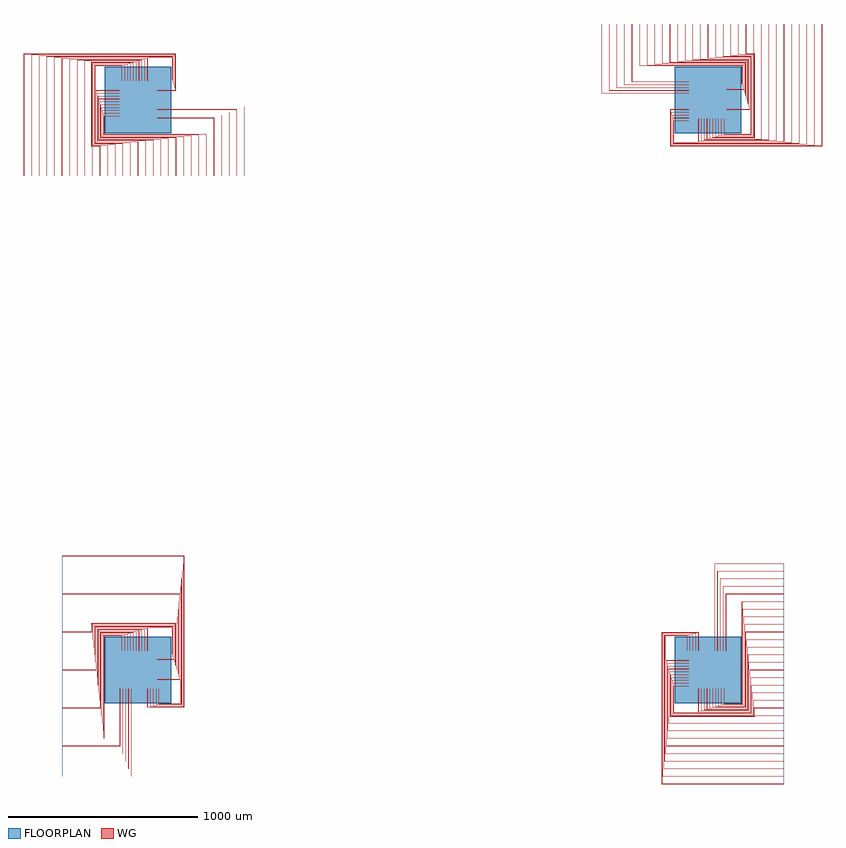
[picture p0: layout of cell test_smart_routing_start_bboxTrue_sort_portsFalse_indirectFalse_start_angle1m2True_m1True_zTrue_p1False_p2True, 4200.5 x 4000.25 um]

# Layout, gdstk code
import gdstk
lib = gdstk.Library(unit=1e-6, precision=1e-09)
def R(c, l, rs):  # rectangles x0, y0, x1, y1
    for r in rs: c.add(gdstk.rectangle(r[:2], r[2:], *l))
def P(c, l, *ps):  # polygons
    for p in ps: c.add(gdstk.Polygon(p, *l))
WG = (1, 0)
FLOORPLAN = (10, 0)

test_smart_routing_start = lib.new_cell('test_smart_routing_start_bboxTrue_sort_portsFalse_indirectFalse_start_angle1m2True_m1True_zTrue_p1False_p2True')
P(test_smart_routing_start, WG, [(2802.5,2757.5),(2802.5,2950.25),(2900,2950.25),(2900,2949.75),(2803,2949.75),(2803,2758),(3599.75,2758),(3599.75,3400),(3600.25,3400),(3600.25,2757.5)],
  [(2807,2762),(2807,2935.25),(2900,2935.25),(2900,2934.75),(2807.5,2934.75),(2807.5,2762.5),(3559.75,2762.5),(3559.75,3400),(3560.25,3400),(3560.25,2762)],
  [(2811.5,2766.5),(2811.5,2920.25),(2900,2920.25),(2900,2919.75),(2812,2919.75),(2812,2767),(3519.75,2767),(3519.75,3400),(3520.25,3400),(3520.25,2766.5)],
  [(2816,2771),(2816,2905.25),(2900,2905.25),(2900,2904.75),(2816.5,2904.75),(2816.5,2771.5),(3479.75,2771.5),(3479.75,3400),(3480.25,3400),(3480.25,2771)],
  [(2820.5,2775.5),(2820.5,2890.25),(2900,2890.25),(2900,2889.75),(2821,2889.75),(2821,2776),(3439.75,2776),(3439.75,3400),(3440.25,3400),(3440.25,2775.5)],
  [(2949.75,2780),(2949.75,2900),(2950.25,2900),(2950.25,2780.5),(3399.75,2780.5),(3399.75,3400),(3400.25,3400),(3400.25,2780)],
  [(2964.75,2784.5),(2964.75,2900),(2965.25,2900),(2965.25,2785),(3359.75,2785),(3359.75,3400),(3360.25,3400),(3360.25,2784.5)],
  [(2979.75,2789),(2979.75,2900),(2980.25,2900),(2980.25,2789.5),(3319.75,2789.5),(3319.75,3400),(3320.25,3400),(3320.25,2789)],
  [(2994.75,2793.5),(2994.75,2900),(2995.25,2900),(2995.25,2794),(3279.75,2794),(3279.75,3400),(3280.25,3400),(3280.25,2793.5)],
  [(3009.75,2798),(3009.75,2900),(3010.25,2900),(3010.25,2798.5),(3246.5,2798.5),(3246.5,3246.5),(3239.75,3246.5),(3239.75,3400),(3240.25,3400),(3240.25,3247),(3247,3247),(3247,2798)],
  [(3024.75,2802.5),(3024.75,2900),(3025.25,2900),(3025.25,2803),(3242,2803),(3242,3242),(3199.75,3242),(3199.75,3400),(3200.25,3400),(3200.25,3242.5),(3242.5,3242.5),(3242.5,2802.5)],
  [(3039.75,2807),(3039.75,2900),(3040.25,2900),(3040.25,2807.5),(3237.5,2807.5),(3237.5,3237.5),(3159.75,3237.5),(3159.75,3400),(3160.25,3400),(3160.25,3238),(3238,3238),(3238,2807)],
  [(3054.75,2811.5),(3054.75,2900),(3055.25,2900),(3055.25,2812),(3233,2812),(3233,3233),(3119.75,3233),(3119.75,3400),(3120.25,3400),(3120.25,3233.5),(3233.5,3233.5),(3233.5,2811.5)],
  [(3069.75,2816),(3069.75,2900),(3070.25,2900),(3070.25,2816.5),(3228.5,2816.5),(3228.5,3228.5),(3079.75,3228.5),(3079.75,3400),(3080.25,3400),(3080.25,3229),(3229,3229),(3229,2816)],
  [(3084.75,2820.5),(3084.75,2900),(3085.25,2900),(3085.25,2821),(3224,2821),(3224,3224),(3039.75,3224),(3039.75,3400),(3040.25,3400),(3040.25,3224.5),(3224.5,3224.5),(3224.5,2820.5)],
  [(3100,2949.75),(3100,2950.25),(3219.5,2950.25),(3219.5,3219.5),(2999.75,3219.5),(2999.75,3400),(3000.25,3400),(3000.25,3220),(3220,3220),(3220,2949.75)],
  [(3100,2964.75),(3100,2965.25),(3215,2965.25),(3215,3215),(2959.75,3215),(2959.75,3400),(2960.25,3400),(2960.25,3215.5),(3215.5,3215.5),(3215.5,2964.75)],
  [(3100,2979.75),(3100,2980.25),(3210.5,2980.25),(3210.5,3210.5),(2919.75,3210.5),(2919.75,3400),(2920.25,3400),(2920.25,3211),(3211,3211),(3211,2979.75)],
  [(3100,2994.75),(3100,2995.25),(3206,2995.25),(3206,3206),(2879.75,3206),(2879.75,3400),(2880.25,3400),(2880.25,3206.5),(3206.5,3206.5),(3206.5,2994.75)],
  [(3100,3009.75),(3100,3010.25),(3201.5,3010.25),(3201.5,3201.5),(2839.75,3201.5),(2839.75,3400),(2840.25,3400),(2840.25,3202),(3202,3202),(3202,3009.75)],
  [(3100,3024.75),(3100,3025.25),(3197,3025.25),(3197,3197),(2799.75,3197),(2799.75,3400),(2800.25,3400),(2800.25,3197.5),(3197.5,3197.5),(3197.5,3024.75)],
  [(3100,3039.75),(3100,3040.25),(3192.5,3040.25),(3192.5,3192.5),(2759.75,3192.5),(2759.75,3400),(2760.25,3400),(2760.25,3193),(3193,3193),(3193,3039.75)],
  [(3100,3054.75),(3100,3055.25),(3188,3055.25),(3188,3188),(2719.75,3188),(2719.75,3400),(2720.25,3400),(2720.25,3188.5),(3188.5,3188.5),(3188.5,3054.75)],
  [(3100,3069.75),(3100,3070.25),(3183.5,3070.25),(3183.5,3183.5),(2679.75,3183.5),(2679.75,3400),(2680.25,3400),(2680.25,3184),(3184,3184),(3184,3069.75)],
  [(3100,3084.75),(3100,3085.25),(3179,3085.25),(3179,3179),(2639.75,3179),(2639.75,3400),(2640.25,3400),(2640.25,3179.5),(3179.5,3179.5),(3179.5,3084.75)],
  [(2439.75,3034.75),(2439.75,3400),(2440.25,3400),(2440.25,3035.25),(2900,3035.25),(2900,3034.75)],
  [(2479.75,3049.75),(2479.75,3400),(2480.25,3400),(2480.25,3050.25),(2900,3050.25),(2900,3049.75)],
  [(2519.75,3064.75),(2519.75,3400),(2520.25,3400),(2520.25,3065.25),(2900,3065.25),(2900,3064.75)],
  [(2559.75,3079.75),(2559.75,3400),(2560.25,3400),(2560.25,3080.25),(2900,3080.25),(2900,3079.75)],
  [(2599.75,3094.75),(2599.75,3400),(2600.25,3400),(2600.25,3095.25),(2900,3095.25),(2900,3094.75)],
  [(-600.25,2600),(-600.25,3242.5),(197.5,3242.5),(197.5,3049.75),(100,3049.75),(100,3050.25),(197,3050.25),(197,3242),(-599.75,3242),(-599.75,2600)],
  [(-560.25,2600),(-560.25,3238),(193,3238),(193,3064.75),(100,3064.75),(100,3065.25),(192.5,3065.25),(192.5,3237.5),(-559.75,3237.5),(-559.75,2600)],
  [(-520.25,2600),(-520.25,3233.5),(188.5,3233.5),(188.5,3079.75),(100,3079.75),(100,3080.25),(188,3080.25),(188,3233),(-519.75,3233),(-519.75,2600)],
  [(-480.25,2600),(-480.25,3229),(184,3229),(184,3094.75),(100,3094.75),(100,3095.25),(183.5,3095.25),(183.5,3228.5),(-479.75,3228.5),(-479.75,2600)],
  [(-440.25,2600),(-440.25,3224.5),(179.5,3224.5),(179.5,3109.75),(100,3109.75),(100,3110.25),(179,3110.25),(179,3224),(-439.75,3224),(-439.75,2600)],
  [(-400.25,2600),(-400.25,3220),(50.25,3220),(50.25,3100),(49.75,3100),(49.75,3219.5),(-399.75,3219.5),(-399.75,2600)],
  [(-360.25,2600),(-360.25,3215.5),(35.25,3215.5),(35.25,3100),(34.75,3100),(34.75,3215),(-359.75,3215),(-359.75,2600)],
  [(-320.25,2600),(-320.25,3211),(20.25,3211),(20.25,3100),(19.75,3100),(19.75,3210.5),(-319.75,3210.5),(-319.75,2600)],
  [(-280.25,2600),(-280.25,3206.5),(5.25,3206.5),(5.25,3100),(4.75,3100),(4.75,3206),(-279.75,3206),(-279.75,2600)],
  [(-240.25,2600),(-240.25,2753),(-247,2753),(-247,3202),(-9.75,3202),(-9.75,3100),(-10.25,3100),(-10.25,3201.5),(-246.5,3201.5),(-246.5,2753.5),(-239.75,2753.5),(-239.75,2600)],
  [(-200.25,2600),(-200.25,2757.5),(-242.5,2757.5),(-242.5,3197.5),(-24.75,3197.5),(-24.75,3100),(-25.25,3100),(-25.25,3197),(-242,3197),(-242,2758),(-199.75,2758),(-199.75,2600)],
  [(-160.25,2600),(-160.25,2762),(-238,2762),(-238,3193),(-39.75,3193),(-39.75,3100),(-40.25,3100),(-40.25,3192.5),(-237.5,3192.5),(-237.5,2762.5),(-159.75,2762.5),(-159.75,2600)],
  [(-120.25,2600),(-120.25,2766.5),(-233.5,2766.5),(-233.5,3188.5),(-54.75,3188.5),(-54.75,3100),(-55.25,3100),(-55.25,3188),(-233,3188),(-233,2767),(-119.75,2767),(-119.75,2600)],
  [(-80.25,2600),(-80.25,2771),(-229,2771),(-229,3184),(-69.75,3184),(-69.75,3100),(-70.25,3100),(-70.25,3183.5),(-228.5,3183.5),(-228.5,2771.5),(-79.75,2771.5),(-79.75,2600)],
  [(-40.25,2600),(-40.25,2775.5),(-224.5,2775.5),(-224.5,3179.5),(-84.75,3179.5),(-84.75,3100),(-85.25,3100),(-85.25,3179),(-224,3179),(-224,2776),(-39.75,2776),(-39.75,2600)],
  [(-0.25,2600),(-0.25,2780),(-220,2780),(-220,3050.25),(-100,3050.25),(-100,3049.75),(-219.5,3049.75),(-219.5,2780.5),(0.25,2780.5),(0.25,2600)],
  [(39.75,2600),(39.75,2784.5),(-215.5,2784.5),(-215.5,3035.25),(-100,3035.25),(-100,3034.75),(-215,3034.75),(-215,2785),(40.25,2785),(40.25,2600)],
  [(79.75,2600),(79.75,2789),(-211,2789),(-211,3020.25),(-100,3020.25),(-100,3019.75),(-210.5,3019.75),(-210.5,2789.5),(80.25,2789.5),(80.25,2600)],
  [(119.75,2600),(119.75,2793.5),(-206.5,2793.5),(-206.5,3005.25),(-100,3005.25),(-100,3004.75),(-206,3004.75),(-206,2794),(120.25,2794),(120.25,2600)],
  [(159.75,2600),(159.75,2798),(-202,2798),(-202,2990.25),(-100,2990.25),(-100,2989.75),(-201.5,2989.75),(-201.5,2798.5),(160.25,2798.5),(160.25,2600)],
  [(199.75,2600),(199.75,2802.5),(-197.5,2802.5),(-197.5,2975.25),(-100,2975.25),(-100,2974.75),(-197,2974.75),(-197,2803),(200.25,2803),(200.25,2600)],
  [(239.75,2600),(239.75,2807),(-193,2807),(-193,2960.25),(-100,2960.25),(-100,2959.75),(-192.5,2959.75),(-192.5,2807.5),(240.25,2807.5),(240.25,2600)],
  [(279.75,2600),(279.75,2811.5),(-188.5,2811.5),(-188.5,2945.25),(-100,2945.25),(-100,2944.75),(-188,2944.75),(-188,2812),(280.25,2812),(280.25,2600)],
  [(319.75,2600),(319.75,2816),(-184,2816),(-184,2930.25),(-100,2930.25),(-100,2929.75),(-183.5,2929.75),(-183.5,2816.5),(320.25,2816.5),(320.25,2600)],
  [(359.75,2600),(359.75,2820.5),(-179.5,2820.5),(-179.5,2915.25),(-100,2915.25),(-100,2914.75),(-179,2914.75),(-179,2821),(360.25,2821),(360.25,2600)],
  [(559.75,2600),(559.75,2964.75),(100,2964.75),(100,2965.25),(560.25,2965.25),(560.25,2600)],
  [(519.75,2600),(519.75,2949.75),(100,2949.75),(100,2950.25),(520.25,2950.25),(520.25,2600)],
  [(479.75,2600),(479.75,2934.75),(100,2934.75),(100,2935.25),(480.25,2935.25),(480.25,2600)],
  [(439.75,2600),(439.75,2919.75),(100,2919.75),(100,2920.25),(440.25,2920.25),(440.25,2600)],
  [(399.75,2600),(399.75,2904.75),(100,2904.75),(100,2905.25),(400.25,2905.25),(400.25,2600)],
  [(49.75,-197.5),(49.75,-100),(50.25,-100),(50.25,-197),(242,-197),(242,599.75),(-400,599.75),(-400,600.25),(242.5,600.25),(242.5,-197.5)],
  [(64.75,-193),(64.75,-100),(65.25,-100),(65.25,-192.5),(237.5,-192.5),(237.5,559.75),(-400,559.75),(-400,560.25),(238,560.25),(238,-193)],
  [(79.75,-188.5),(79.75,-100),(80.25,-100),(80.25,-188),(233,-188),(233,519.75),(-400,519.75),(-400,520.25),(233.5,520.25),(233.5,-188.5)],
  [(94.75,-184),(94.75,-100),(95.25,-100),(95.25,-183.5),(228.5,-183.5),(228.5,479.75),(-400,479.75),(-400,480.25),(229,480.25),(229,-184)],
  [(109.75,-179.5),(109.75,-100),(110.25,-100),(110.25,-179),(224,-179),(224,439.75),(-400,439.75),(-400,440.25),(224.5,440.25),(224.5,-179.5)],
  [(100,-50.25),(100,-49.75),(219.5,-49.75),(219.5,399.75),(-400,399.75),(-400,400.25),(220,400.25),(220,-50.25)],
  [(100,-35.25),(100,-34.75),(215,-34.75),(215,359.75),(-400,359.75),(-400,360.25),(215.5,360.25),(215.5,-35.25)],
  [(100,-20.25),(100,-19.75),(210.5,-19.75),(210.5,319.75),(-400,319.75),(-400,320.25),(211,320.25),(211,-20.25)],
  [(100,-5.25),(100,-4.75),(206,-4.75),(206,279.75),(-400,279.75),(-400,280.25),(206.5,280.25),(206.5,-5.25)],
  [(100,9.75),(100,10.25),(201.5,10.25),(201.5,246.5),(-246.5,246.5),(-246.5,239.75),(-400,239.75),(-400,240.25),(-247,240.25),(-247,247),(202,247),(202,9.75)],
  [(100,24.75),(100,25.25),(197,25.25),(197,242),(-242,242),(-242,199.75),(-400,199.75),(-400,200.25),(-242.5,200.25),(-242.5,242.5),(197.5,242.5),(197.5,24.75)],
  [(100,39.75),(100,40.25),(192.5,40.25),(192.5,237.5),(-237.5,237.5),(-237.5,159.75),(-400,159.75),(-400,160.25),(-238,160.25),(-238,238),(193,238),(193,39.75)],
  [(100,54.75),(100,55.25),(188,55.25),(188,233),(-233,233),(-233,119.75),(-400,119.75),(-400,120.25),(-233.5,120.25),(-233.5,233.5),(188.5,233.5),(188.5,54.75)],
  [(100,69.75),(100,70.25),(183.5,70.25),(183.5,228.5),(-228.5,228.5),(-228.5,79.75),(-400,79.75),(-400,80.25),(-229,80.25),(-229,229),(184,229),(184,69.75)],
  [(-400,39.75),(-400,40.25),(-224.5,40.25),(-224.5,224.5),(179.5,224.5),(179.5,84.75),(100,84.75),(100,85.25),(179,85.25),(179,224),(-224,224),(-224,39.75)],
  [(-400,-0.25),(-400,0.25),(-220,0.25),(-220,220),(50.25,220),(50.25,100),(49.75,100),(49.75,219.5),(-219.5,219.5),(-219.5,-0.25)],
  [(-400,-40.25),(-400,-39.75),(-215.5,-39.75),(-215.5,215.5),(35.25,215.5),(35.25,100),(34.75,100),(34.75,215),(-215,215),(-215,-40.25)],
  [(-400,-80.25),(-400,-79.75),(-211,-79.75),(-211,211),(20.25,211),(20.25,100),(19.75,100),(19.75,210.5),(-210.5,210.5),(-210.5,-80.25)],
  [(-400,-120.25),(-400,-119.75),(-206.5,-119.75),(-206.5,206.5),(5.25,206.5),(5.25,100),(4.75,100),(4.75,206),(-206,206),(-206,-120.25)],
  [(-400,-160.25),(-400,-159.75),(-202,-159.75),(-202,202),(-9.75,202),(-9.75,100),(-10.25,100),(-10.25,201.5),(-201.5,201.5),(-201.5,-160.25)],
  [(-400,-200.25),(-400,-199.75),(-197.5,-199.75),(-197.5,197.5),(-24.75,197.5),(-24.75,100),(-25.25,100),(-25.25,197),(-197,197),(-197,-200.25)],
  [(-400,-240.25),(-400,-239.75),(-193,-239.75),(-193,193),(-39.75,193),(-39.75,100),(-40.25,100),(-40.25,192.5),(-192.5,192.5),(-192.5,-240.25)],
  [(-400,-280.25),(-400,-279.75),(-188.5,-279.75),(-188.5,188.5),(-54.75,188.5),(-54.75,100),(-55.25,100),(-55.25,188),(-188,188),(-188,-280.25)],
  [(-400,-320.25),(-400,-319.75),(-184,-319.75),(-184,184),(-69.75,184),(-69.75,100),(-70.25,100),(-70.25,183.5),(-183.5,183.5),(-183.5,-320.25)],
  [(-400,-360.25),(-400,-359.75),(-179.5,-359.75),(-179.5,179.5),(-84.75,179.5),(-84.75,100),(-85.25,100),(-85.25,179),(-179,179),(-179,-360.25)],
  [(-400,-560.25),(-400,-559.75),(-35.25,-559.75),(-35.25,-100),(-34.75,-100),(-34.75,-560.25)],
  [(-400,-520.25),(-400,-519.75),(-50.25,-519.75),(-50.25,-100),(-49.75,-100),(-49.75,-520.25)],
  [(-400,-480.25),(-400,-479.75),(-65.25,-479.75),(-65.25,-100),(-64.75,-100),(-64.75,-480.25)],
  [(-400,-440.25),(-400,-439.75),(-80.25,-439.75),(-80.25,-100),(-79.75,-100),(-79.75,-440.25)],
  [(-400,-400.25),(-400,-399.75),(-95.25,-399.75),(-95.25,-100),(-94.75,-100),(-94.75,-400.25)],
  [(2757.5,-600.25),(2757.5,197.5),(2950.25,197.5),(2950.25,100),(2949.75,100),(2949.75,197),(2758,197),(2758,-599.75),(3400,-599.75),(3400,-600.25)],
  [(2762,-560.25),(2762,193),(2935.25,193),(2935.25,100),(2934.75,100),(2934.75,192.5),(2762.5,192.5),(2762.5,-559.75),(3400,-559.75),(3400,-560.25)],
  [(2766.5,-520.25),(2766.5,188.5),(2920.25,188.5),(2920.25,100),(2919.75,100),(2919.75,188),(2767,188),(2767,-519.75),(3400,-519.75),(3400,-520.25)],
  [(2771,-480.25),(2771,184),(2905.25,184),(2905.25,100),(2904.75,100),(2904.75,183.5),(2771.5,183.5),(2771.5,-479.75),(3400,-479.75),(3400,-480.25)],
  [(2775.5,-440.25),(2775.5,179.5),(2890.25,179.5),(2890.25,100),(2889.75,100),(2889.75,179),(2776,179),(2776,-439.75),(3400,-439.75),(3400,-440.25)],
  [(2780,-400.25),(2780,50.25),(2900,50.25),(2900,49.75),(2780.5,49.75),(2780.5,-399.75),(3400,-399.75),(3400,-400.25)],
  [(2784.5,-360.25),(2784.5,35.25),(2900,35.25),(2900,34.75),(2785,34.75),(2785,-359.75),(3400,-359.75),(3400,-360.25)],
  [(2789,-320.25),(2789,20.25),(2900,20.25),(2900,19.75),(2789.5,19.75),(2789.5,-319.75),(3400,-319.75),(3400,-320.25)],
  [(2793.5,-280.25),(2793.5,5.25),(2900,5.25),(2900,4.75),(2794,4.75),(2794,-279.75),(3400,-279.75),(3400,-280.25)],
  [(2798,-247),(2798,-9.75),(2900,-9.75),(2900,-10.25),(2798.5,-10.25),(2798.5,-246.5),(3246.5,-246.5),(3246.5,-239.75),(3400,-239.75),(3400,-240.25),(3247,-240.25),(3247,-247)],
  [(2802.5,-242.5),(2802.5,-24.75),(2900,-24.75),(2900,-25.25),(2803,-25.25),(2803,-242),(3242,-242),(3242,-199.75),(3400,-199.75),(3400,-200.25),(3242.5,-200.25),(3242.5,-242.5)],
  [(2807,-238),(2807,-39.75),(2900,-39.75),(2900,-40.25),(2807.5,-40.25),(2807.5,-237.5),(3237.5,-237.5),(3237.5,-159.75),(3400,-159.75),(3400,-160.25),(3238,-160.25),(3238,-238)],
  [(2811.5,-233.5),(2811.5,-54.75),(2900,-54.75),(2900,-55.25),(2812,-55.25),(2812,-233),(3233,-233),(3233,-119.75),(3400,-119.75),(3400,-120.25),(3233.5,-120.25),(3233.5,-233.5)],
  [(2816,-229),(2816,-69.75),(2900,-69.75),(2900,-70.25),(2816.5,-70.25),(2816.5,-228.5),(3228.5,-228.5),(3228.5,-79.75),(3400,-79.75),(3400,-80.25),(3229,-80.25),(3229,-229)],
  [(2820.5,-224.5),(2820.5,-84.75),(2900,-84.75),(2900,-85.25),(2821,-85.25),(2821,-224),(3224,-224),(3224,-39.75),(3400,-39.75),(3400,-40.25),(3224.5,-40.25),(3224.5,-224.5)],
  [(2949.75,-220),(2949.75,-100),(2950.25,-100),(2950.25,-219.5),(3219.5,-219.5),(3219.5,0.25),(3400,0.25),(3400,-0.25),(3220,-0.25),(3220,-220)],
  [(2964.75,-215.5),(2964.75,-100),(2965.25,-100),(2965.25,-215),(3215,-215),(3215,40.25),(3400,40.25),(3400,39.75),(3215.5,39.75),(3215.5,-215.5)],
  [(2979.75,-211),(2979.75,-100),(2980.25,-100),(2980.25,-210.5),(3210.5,-210.5),(3210.5,80.25),(3400,80.25),(3400,79.75),(3211,79.75),(3211,-211)],
  [(2994.75,-206.5),(2994.75,-100),(2995.25,-100),(2995.25,-206),(3206,-206),(3206,120.25),(3400,120.25),(3400,119.75),(3206.5,119.75),(3206.5,-206.5)],
  [(3009.75,-202),(3009.75,-100),(3010.25,-100),(3010.25,-201.5),(3201.5,-201.5),(3201.5,160.25),(3400,160.25),(3400,159.75),(3202,159.75),(3202,-202)],
  [(3024.75,-197.5),(3024.75,-100),(3025.25,-100),(3025.25,-197),(3197,-197),(3197,200.25),(3400,200.25),(3400,199.75),(3197.5,199.75),(3197.5,-197.5)],
  [(3039.75,-193),(3039.75,-100),(3040.25,-100),(3040.25,-192.5),(3192.5,-192.5),(3192.5,240.25),(3400,240.25),(3400,239.75),(3193,239.75),(3193,-193)],
  [(3054.75,-188.5),(3054.75,-100),(3055.25,-100),(3055.25,-188),(3188,-188),(3188,280.25),(3400,280.25),(3400,279.75),(3188.5,279.75),(3188.5,-188.5)],
  [(3069.75,-184),(3069.75,-100),(3070.25,-100),(3070.25,-183.5),(3183.5,-183.5),(3183.5,320.25),(3400,320.25),(3400,319.75),(3184,319.75),(3184,-184)],
  [(3084.75,-179.5),(3084.75,-100),(3085.25,-100),(3085.25,-179),(3179,-179),(3179,360.25),(3400,360.25),(3400,359.75),(3179.5,359.75),(3179.5,-179.5)],
  [(3034.75,100),(3034.75,560.25),(3400,560.25),(3400,559.75),(3035.25,559.75),(3035.25,100)],
  [(3049.75,100),(3049.75,520.25),(3400,520.25),(3400,519.75),(3050.25,519.75),(3050.25,100)],
  [(3064.75,100),(3064.75,480.25),(3400,480.25),(3400,479.75),(3065.25,479.75),(3065.25,100)],
  [(3079.75,100),(3079.75,440.25),(3400,440.25),(3400,439.75),(3080.25,439.75),(3080.25,100)],
  [(3094.75,100),(3094.75,400.25),(3400,400.25),(3400,399.75),(3095.25,399.75),(3095.25,100)])
R(test_smart_routing_start, FLOORPLAN, [(-175,-175,175,175), (2825,-175,3175,175), (-175,2825,175,3175), (2825,2825,3175,3175)])
P(test_smart_routing_start, FLOORPLAN, [(-400,-560),(-400,600),(-400,600),(-400,-560)],
  [(-600,2600),(-600,2600),(560,2600),(560,2600)],
  [(3400,-600),(3400,560),(3400,560),(3400,-600)],
  [(2440,3400),(2440,3400),(3600,3400),(3600,3400)])

lib.write_gds('test_smart_routing_start_bboxTrue_sort_portsFalse_indirectFalse_start_angle1m2True_m1True_zTrue_p1False_p2True.gds')
